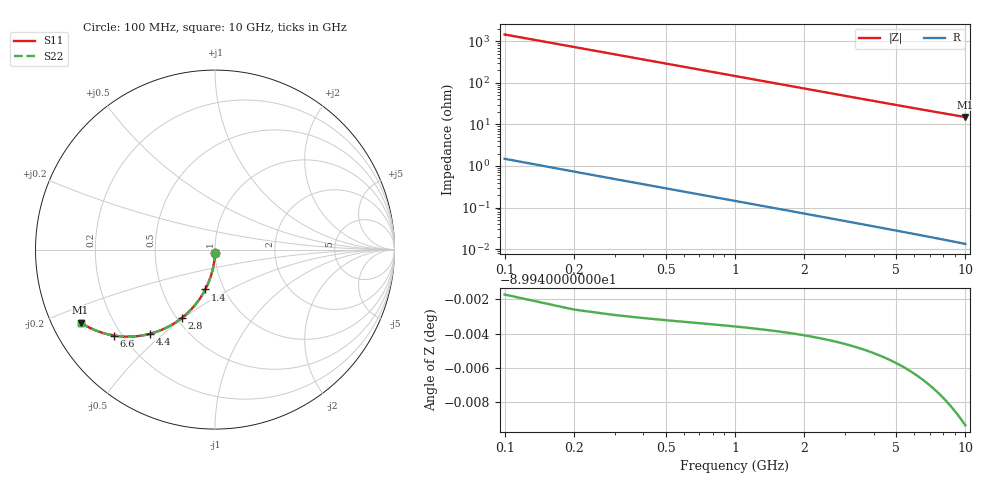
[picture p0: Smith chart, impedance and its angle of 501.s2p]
# Hz S RI R 50.00
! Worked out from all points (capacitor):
!   100 points, 100 MHz to 10 GHz, reference 50 ohm
!   read as one part in shunt: C = 1.08 pF near 100 MHz
!   lowest |Z| = 15.1 ohm at 10 GHz (marker M1)
!   S11 on the Smith chart (normalised r, x): 100 MHz: 1.00, -0.03; 1.4 GHz: 0.82, -0.38; 2.8 GHz: 0.53, -0.49; 4.4 GHz: 0.31, -0.45; 6.6 GHz: 0.17, -0.36; 10 GHz: 0.08, -0.25
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1e8  -0.00025 -0.0168  0.9996 -0.0173  0.9996 -0.0173  -0.00025 -0.0168
2e8  -0.00114 -0.0335  0.9987 -0.0345  0.9987 -0.0345  -0.00114 -0.0335
3e8  -0.0026 -0.0502  0.9973 -0.0517  0.9973 -0.0517  -0.0026 -0.0502
4e8  -0.00463 -0.0668  0.9953 -0.0688  0.9953 -0.0688  -0.00463 -0.0668
5e8  -0.00722 -0.0833  0.9927 -0.0858  0.9927 -0.0858  -0.00722 -0.0833
6e8  -0.0104 -0.0996  0.9895 -0.1026  0.9895 -0.1026  -0.0104 -0.0996
7e8  -0.0141 -0.1158  0.9858 -0.1193  0.9858 -0.1193  -0.0141 -0.1158
9e8  -0.0231 -0.1475  0.9768 -0.152  0.9768 -0.152  -0.0231 -0.1475
1.1e9  -0.034 -0.1783  0.9658 -0.1838  0.9658 -0.1838  -0.034 -0.1783
1.4e9  -0.054 -0.2222  0.9459 -0.2291  0.9459 -0.2291  -0.054 -0.2222
1.8e9  -0.0862 -0.2758  0.9136 -0.2848  0.9136 -0.2848  -0.0862 -0.2758
2.3e9  -0.1335 -0.334  0.8663 -0.3455  0.8663 -0.3455  -0.1335 -0.334
2.8e9  -0.186 -0.3817  0.8138 -0.3957  0.8138 -0.3957  -0.186 -0.3817
3.4e9  -0.2522 -0.4253  0.7475 -0.4424  0.7475 -0.4424  -0.2522 -0.4253
4.4e9  -0.3615 -0.4689  0.6381 -0.4911  0.6381 -0.4911  -0.3615 -0.4689
5.1e9  -0.4325 -0.482  0.567 -0.5079  0.567 -0.5079  -0.4325 -0.482
5.8e9  -0.497 -0.4847  0.5025 -0.5143  0.5025 -0.5143  -0.497 -0.4847
6.6e9  -0.5619 -0.4787  0.4374 -0.5125  0.4374 -0.5125  -0.5619 -0.4787
6.7e9  -0.5694 -0.4774  0.4299 -0.5118  0.4299 -0.5118  -0.5694 -0.4774
7.5e9  -0.6243 -0.4644  0.3748 -0.503  0.3748 -0.503  -0.6243 -0.4644
8.4e9  -0.6766 -0.4453  0.3223 -0.4888  0.3223 -0.4888  -0.6766 -0.4453
1e10  -0.7491 -0.4065  0.2494 -0.4587  0.2494 -0.4587  -0.7491 -0.4065
